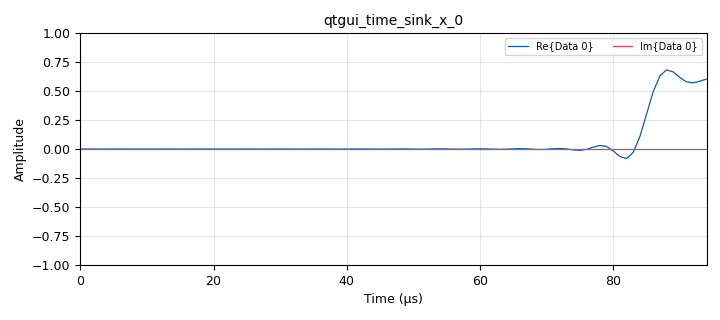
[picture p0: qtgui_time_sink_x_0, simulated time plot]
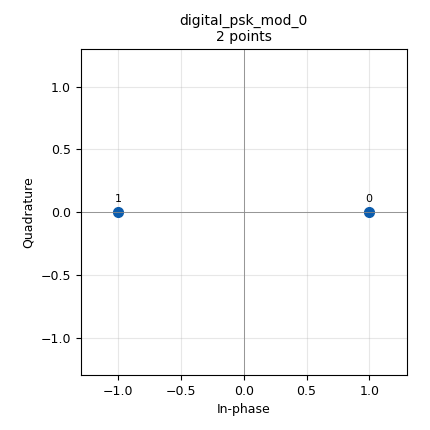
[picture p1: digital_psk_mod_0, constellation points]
<?xml version='1.0' encoding='utf-8'?>
<?grc format='1' created='3.7.8'?>
<flow_graph>
<block>
<key>options</key>
<param><key>id</key><value>top_block</value></param>
<param><key>generate_options</key><value>qt_gui</value></param>
<param><key>category</key><value>Custom</value></param>
</block>
<block>
<key>variable</key>
<param><key>id</key><value>samp_rate</value></param>
<param><key>value</key><value>1e6</value></param>
</block>
<block>
<key>variable</key>
<param><key>id</key><value>window_taps</value></param>
<param><key>value</key><value>fft.window.hann(128)</value></param>
</block>
<block>
<key>import</key>
<param><key>id</key><value>import_0_0</value></param>
<param><key>import</key><value>from gnuradio import fft</value></param>
</block>
<block>
<key>uhd_usrp_sink</key>
<param><key>id</key><value>uhd_usrp_sink_0</value></param>
<param><key>_enabled</key><value>False</value></param>
<param><key>type</key><value>fc32</value></param>
<param><key>dev_addr</key><value>"addr=192.168.10.2"</value></param>
<param><key>dev_args</key><value>""</value></param>
<param><key>sync</key><value></value></param>
<param><key>clock_rate</key><value>0.0</value></param>
<param><key>samp_rate</key><value>samp_rate</value></param>
<param><key>center_freq0</key><value>5e9</value></param>
<param><key>gain0</key><value>3</value></param>
<param><key>norm_gain0</key><value>False</value></param>
<param><key>ant0</key><value></value></param>
<param><key>len_tag_name</key><value>"packet_len"</value></param>
</block>
<block>
<key>blocks_stream_to_tagged_stream</key>
<param><key>id</key><value>blocks_stream_to_tagged_stream_0_0</value></param>
<param><key>_enabled</key><value>False</value></param>
<param><key>type</key><value>byte</value></param>
<param><key>packet_len</key><value>6</value></param>
<param><key>len_tag_key</key><value>"packet_len"</value></param>
</block>
<block>
<key>blocks_vector_source_x</key>
<param><key>id</key><value>blocks_vector_source_x_0_0</value></param>
<param><key>_enabled</key><value>False</value></param>
<param><key>type</key><value>byte</value></param>
<param><key>vector</key><value>[(0)]*6</value></param>
<param><key>repeat</key><value>False</value></param>
</block>
<block>
<key>blocks_multiply_const_vxx</key>
<param><key>id</key><value>blocks_multiply_const_vxx_0</value></param>
<param><key>type</key><value>complex</value></param>
<param><key>const</key><value>0.6</value></param>
</block>
<block>
<key>blocks_unpacked_to_packed_xx</key>
<param><key>id</key><value>blocks_unpacked_to_packed_xx_0</value></param>
<param><key>type</key><value>byte</value></param>
<param><key>bits_per_chunk</key><value>1</value></param>
<param><key>endianness</key><value>gr.GR_MSB_FIRST</value></param>
</block>
<block>
<key>blocks_vector_source_x</key>
<param><key>id</key><value>blocks_vector_source_x_0</value></param>
<param><key>type</key><value>byte</value></param>
<param><key>vector</key><value>(1, 0, 1, 0, 1,0,1,0)</value></param>
<param><key>repeat</key><value>False</value></param>
</block>
<block>
<key>blocks_unpacked_to_packed_xx</key>
<param><key>id</key><value>blocks_unpacked_to_packed_xx_0_0</value></param>
<param><key>type</key><value>byte</value></param>
<param><key>bits_per_chunk</key><value>1</value></param>
<param><key>endianness</key><value>gr.GR_MSB_FIRST</value></param>
</block>
<block>
<key>blocks_stream_mux</key>
<param><key>id</key><value>blocks_stream_mux_0</value></param>
<param><key>type</key><value>byte</value></param>
<param><key>lengths</key><value>16/8, 1</value></param>
</block>
<block>
<key>blocks_vector_source_x</key>
<param><key>id</key><value>blocks_vector_source_x_0_1</value></param>
<param><key>type</key><value>byte</value></param>
<param><key>vector</key><value>[(0)]*16</value></param>
<param><key>repeat</key><value>False</value></param>
</block>
<block>
<key>blocks_tag_debug</key>
<param><key>id</key><value>blocks_tag_debug_0_0_0</value></param>
<param><key>type</key><value>complex</value></param>
<param><key>name</key><value>usrp</value></param>
</block>
<block>
<key>qtgui_time_sink_x</key>
<param><key>id</key><value>qtgui_time_sink_x_0</value></param>
<param><key>type</key><value>complex</value></param>
<param><key>size</key><value>95</value></param>
<param><key>srate</key><value>samp_rate</value></param>
<param><key>label1</key><value></value></param>
<param><key>color1</key><value>"blue"</value></param>
<param><key>label2</key><value></value></param>
<param><key>color2</key><value>"red"</value></param>
</block>
<block>
<key>variable_rrc_filter_taps</key>
<param><key>id</key><value>rrc</value></param>
<param><key>gain</key><value>1.0</value></param>
<param><key>samp_rate</key><value>samp_rate</value></param>
<param><key>sym_rate</key><value>samp_rate / 4</value></param>
<param><key>alpha</key><value>0.35</value></param>
<param><key>ntaps</key><value>11*4</value></param>
</block>
<block>
<key>digital_psk_mod</key>
<param><key>id</key><value>digital_psk_mod_0</value></param>
<param><key>constellation_points</key><value>2</value></param>
<param><key>mod_code</key><value>"none"</value></param>
<param><key>differential</key><value>False</value></param>
<param><key>samples_per_symbol</key><value>4</value></param>
<param><key>excess_bw</key><value>0.35</value></param>
</block>
<connection><source_block_id>blocks_multiply_const_vxx_0</source_block_id><sink_block_id>uhd_usrp_sink_0</sink_block_id><source_key>0</source_key><sink_key>0</sink_key></connection>
<connection><source_block_id>blocks_multiply_const_vxx_0</source_block_id><sink_block_id>qtgui_time_sink_x_0</sink_block_id><source_key>0</source_key><sink_key>0</sink_key></connection>
<connection><source_block_id>blocks_multiply_const_vxx_0</source_block_id><sink_block_id>blocks_tag_debug_0_0_0</sink_block_id><source_key>0</source_key><sink_key>0</sink_key></connection>
<connection><source_block_id>blocks_vector_source_x_0_0</source_block_id><sink_block_id>blocks_stream_to_tagged_stream_0_0</sink_block_id><source_key>0</source_key><sink_key>0</sink_key></connection>
<connection><source_block_id>digital_psk_mod_0</source_block_id><sink_block_id>blocks_multiply_const_vxx_0</sink_block_id><source_key>0</source_key><sink_key>0</sink_key></connection>
<connection><source_block_id>blocks_stream_mux_0</source_block_id><sink_block_id>digital_psk_mod_0</sink_block_id><source_key>0</source_key><sink_key>0</sink_key></connection>
<connection><source_block_id>blocks_unpacked_to_packed_xx_0</source_block_id><sink_block_id>blocks_stream_mux_0</sink_block_id><source_key>0</source_key><sink_key>1</sink_key></connection>
<connection><source_block_id>blocks_vector_source_x_0</source_block_id><sink_block_id>blocks_unpacked_to_packed_xx_0</sink_block_id><source_key>0</source_key><sink_key>0</sink_key></connection>
<connection><source_block_id>blocks_vector_source_x_0_1</source_block_id><sink_block_id>blocks_unpacked_to_packed_xx_0_0</sink_block_id><source_key>0</source_key><sink_key>0</sink_key></connection>
<connection><source_block_id>blocks_unpacked_to_packed_xx_0_0</source_block_id><sink_block_id>blocks_stream_mux_0</sink_block_id><source_key>0</source_key><sink_key>0</sink_key></connection>
</flow_graph>
